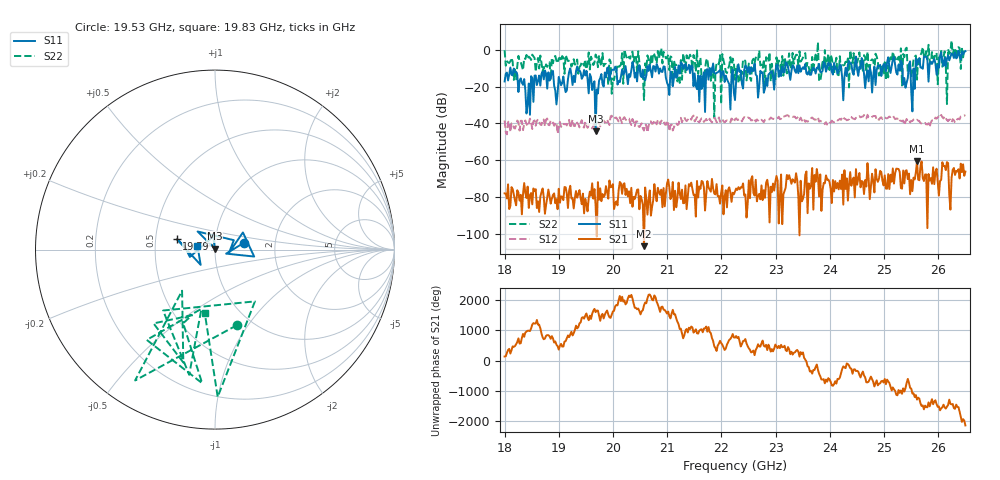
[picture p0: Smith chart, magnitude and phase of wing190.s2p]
!Keysight Technologies,N5242B,MY47200105,A.14.00.23
!Date: Friday, May 10, 2024 11:06:30
!Correction: S11(C  2-Port  )
!S21(C  2-Port  )
!S12(C  2-Port  )
!S22(C  2-Port  )
!S2P File: Measurement: :
# Hz S  RI  R 50
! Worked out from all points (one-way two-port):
!   401 points, 18 GHz to 26.5 GHz, reference 50 ohm
!   highest |S21| = -60.42 dB at 25.61 GHz (marker M1); lowest = -106.9 dB at 20.57 GHz (marker M2)
!   lowest |S11| = -44.4 dB at 19.68 GHz (marker M3), VSWR 1.01, Z = 49.9 + j0.595 ohm
!   |S11| at or under -10 dB: 18.11 GHz to 19.33 GHz (1.222 GHz wide, 6.53 % of centre); 19.35 GHz to 19.9 GHz (552.5 MHz wide, 2.82 % of centre); 21.86 GHz to 22.3 GHz (440.5 MHz wide, 2 % of centre) (the widest 3 of 58)
!   |S22| runs from -36.8 to 5.1 dB; largest |S21 - S12| = 0.018
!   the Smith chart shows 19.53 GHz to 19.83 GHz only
!   S11 on the Smith chart (normalised r, x): 19.53 GHz: 1.37, +0.10; 19.79 GHz: 0.65, +0.08; 19.83 GHz: 0.82, +0.04
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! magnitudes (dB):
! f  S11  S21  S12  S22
! 18 GHz  -17.2  -78.1  -38.4  -0.2
! 18.43 GHz  -29.5  -74.4  -41.6  -4.9
! 18.72 GHz  -16.0  -80.1  -37.9  -9.3
! 19.42 GHz  -15.7  -84.0  -38.2  -6.4
! 19.53 GHz  -15.7  -87.9  -42.4  -7.2
! 19.68 GHz  -44.4  -84.7  -42.8  -2.5
! 19.79 GHz  -13.1  -82.4  -40.0  -8.8
! 19.83 GHz  -20.0  -80.1  -38.5  -8.9
! 20.02 GHz  -10.9  -86.6  -37.5  -16.5
! 20.38 GHz  -9.3  -80.1  -39.2  -6.6
! 20.57 GHz  -15.3  -106.9  -43.9  -27.3
! 20.85 GHz  -12.9  -77.4  -38.1  -4.6
! 21.23 GHz  -12.8  -78.1  -37.6  -18.0
! 21.4 GHz  -8.1  -73.1  -37.3  -4.4
! 21.59 GHz  -28.3  -74.4  -39.5  -8.2
! 21.85 GHz  -7.4  -75.4  -38.3  -8.9
! 22.25 GHz  -27.3  -77.1  -37.7  -16.3
! 23.67 GHz  -11.0  -64.3  -36.8  -3.8
! 25.1 GHz  -9.1  -75.8  -36.2  -5.9
! 25.52 GHz  -33.5  -76.9  -38.7  -10.1
! 25.61 GHz  -8.2  -60.4  -38.0  -16.2
! 26.5 GHz  -0.7  -66.2  -35.9  0.6
